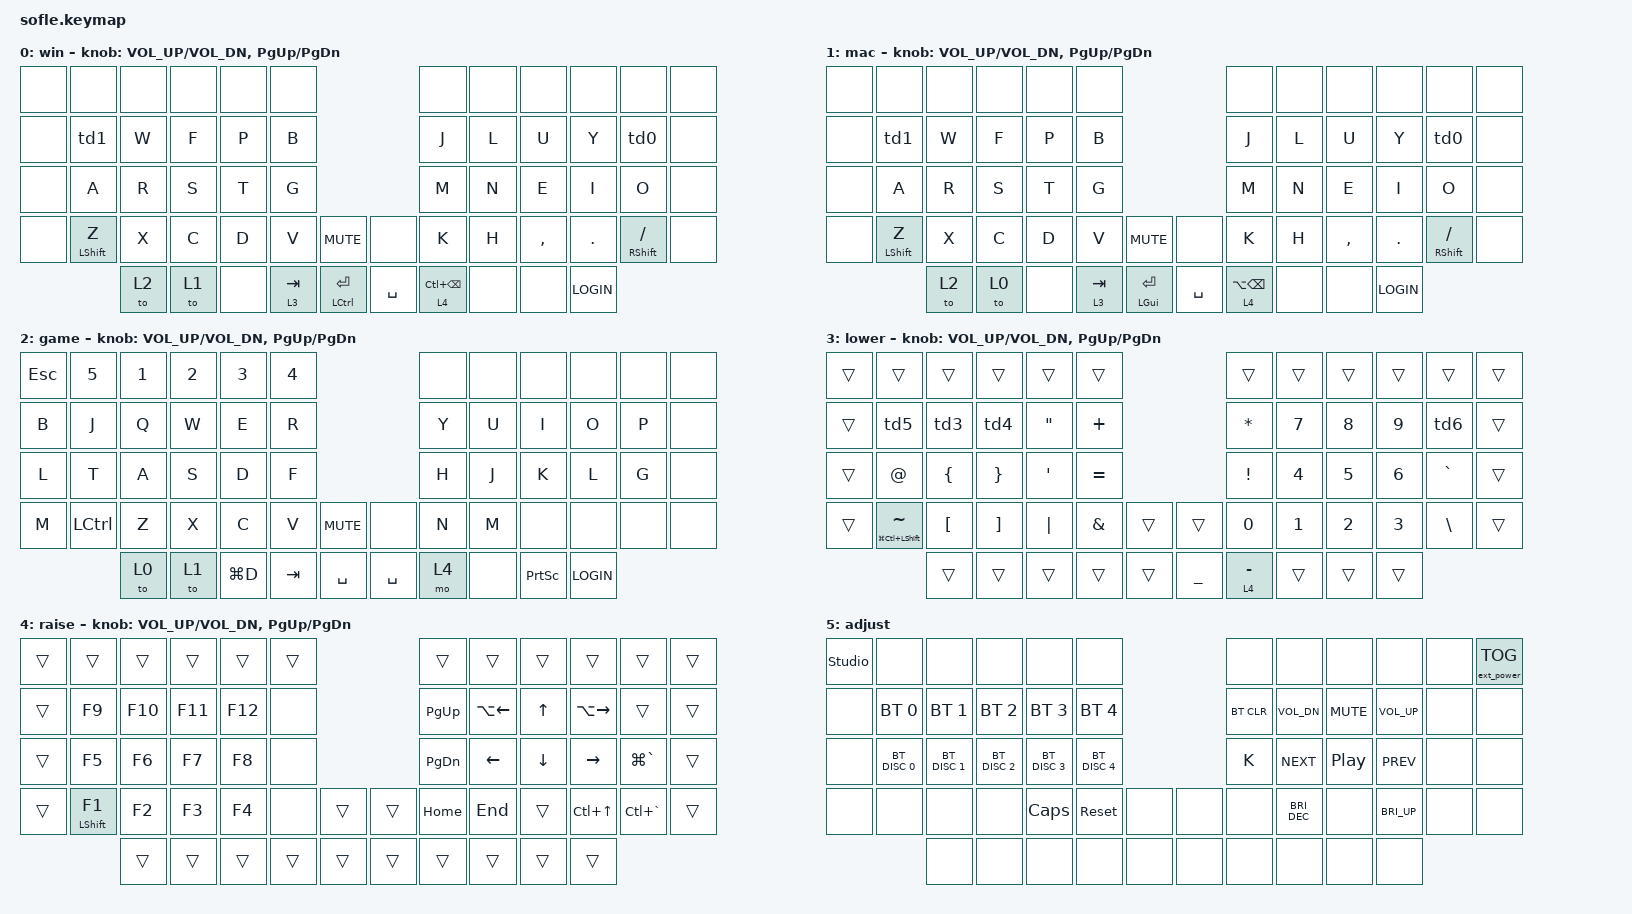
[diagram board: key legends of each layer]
/*
 * Copyright (c) 2020 The ZMK Contributors
 *
 * SPDX-License-Identifier: MIT
 */

#include <behaviors.dtsi>
#include <dt-bindings/zmk/bt.h>
#include <dt-bindings/zmk/ext_power.h>
#include <dt-bindings/zmk/keys.h>

#define BASE 0
#define LOWER 1
#define RAISE 2
#define ADJUST 3

/ {
    // Activate ADJUST layer by pressing raise and lower

    conditional_layers {
        compatible = "zmk,conditional-layers";

        adjust_layer {
            if-layers = <3 4>;
            then-layer = <5>;
        };
    };

    macros {
        LOGIN: LOGIN {
            compatible = "zmk,behavior-macro";
            #binding-cells = <0>;
            bindings = <&kp RET &kp N0 &kp N8 &kp N0 &kp N1 &kp RET>;
            label = "LOGIN";
            wait-ms = <500>;
        };
    };

    combos {
        compatible = "zmk,combos";

        LALT_COMBO {
            bindings = <&kp LEFT_ALT>;
            key-positions = <25 26 27>;
            layers = <0 2 3 4>;
        };

        RALT_COMBO {
            bindings = <&kp RIGHT_ALT>;
            key-positions = <32 33 34>;
        };

        LWIN_COMBO {
            bindings = <&kp LEFT_WIN>;
            key-positions = <14 15 16>;
        };

        RWIN_COMBO {
            bindings = <&kp RIGHT_WIN>;
            key-positions = <19 20 21>;
        };

        LCTRL_COMBO {
            bindings = <&kp LCTRL>;
            key-positions = <40 39 38>;
        };

        RCTRL_COMBO {
            bindings = <&kp RCTRL>;
            key-positions = <45 46 47>;
        };

        DEL_COMBO {
            bindings = <&kp DELETE>;
            key-positions = <28 27 26>;
        };

        BSPC_COMBO {
            bindings = <&kp BACKSPACE>;
            key-positions = <31 32 33>;
        };

        caps_word {
            bindings = <&caps_word>;
            key-positions = <37 38 39>;
        };

        MAC_LGUI_COMBO {
            bindings = <&kp LGUI>;
            key-positions = <25 26 27>;
            layers = <1>;
        };
    };

    behaviors {
        td0: td0 {
            compatible = "zmk,behavior-tap-dance";
            label = "TD0";
            #binding-cells = <0>;
            bindings = <&kp SEMI>, <&kp COLON>;
        };

        td1: td1 {
            compatible = "zmk,behavior-tap-dance";
            label = "TD1";
            #binding-cells = <0>;
            bindings = <&kp Q>, <&kp ESCAPE>;
        };

        td2: td2 {
            compatible = "zmk,behavior-tap-dance";
            label = "TD2";
            #binding-cells = <0>;
            bindings = <&kp LG(GRAVE)>, <&kp TILDE>;
        };

        td3: td3 {
            compatible = "zmk,behavior-tap-dance";
            label = "TD3";
            #binding-cells = <0>;
            bindings = <&kp LPAR>, <&kp LT>;
        };

        td4: td4 {
            compatible = "zmk,behavior-tap-dance";
            label = "TD4";
            #binding-cells = <0>;
            bindings = <&kp RPAR>, <&kp GT>;
        };

        td5: td5 {
            compatible = "zmk,behavior-tap-dance";
            label = "TD5";
            #binding-cells = <0>;
            bindings = <&kp HASH>, <&kp DLLR>;
        };

        td6: td6 {
            compatible = "zmk,behavior-tap-dance";
            label = "TD6";
            #binding-cells = <0>;
            bindings = <&kp PRCNT>, <&kp LG(CARET)>;
        };

        caps_word: caps_word {
            compatible = "zmk,behavior-caps-word";
            label = "CAPS_WORD";
            #binding-cells = <0>;
            continue-list = <UNDERSCORE MINUS BACKSPACE DELETE HOME END LEFT RIGHT>;
        };
    };

    keymap {
        compatible = "zmk,keymap";

        win_layer {
            label = "win";

            // ------------------------------------------------------------------------------------------------------------
            // |   `   |  1  |  2  |  3   |  4   |  5   |                   |  6   |  7    |  8    |  9   |   0   |       |
            // |  ESC  |  Q  |  W  |  E   |  R   |  T   |                   |  Y   |  U    |  I    |  O   |   P   | BKSPC |
            // |  TAB  |  A  |  S  |  D   |  F   |  G   |                   |  H   |  J    |  K    |  L   |   ;   |   '   |
            // | SHIFT |  Z  |  X  |  C   |  V   |  B   |  MUTE  |  |       |  N   |  M    |  ,    |  .   |   /   | SHIFT |
            //               | GUI | ALT  | CTRL | LOWER|  ENTER |  | SPACE | RAISE| CTRL  | ALT   | GUI  |

            bindings = <
&none  &none         &none  &none  &none  &none                                  &none                &none  &none      &none    &none            &none
&none  &td1          &kp W  &kp F  &kp P  &kp B                                  &kp J                &kp L  &kp U      &kp Y    &td0             &none
&none  &kp A         &kp R  &kp S  &kp T  &kp G                                  &kp M                &kp N  &kp E      &kp I    &kp O            &none
&none  &mt LSHIFT Z  &kp X  &kp C  &kp D  &kp V      &kp C_MUTE       &none      &kp K                &kp H  &kp COMMA  &kp DOT  &mt RSHIFT FSLH  &none
                     &to 2  &to 1  &none  &lt 3 TAB  &mt LCTRL RET    &kp SPACE  &lt 4 LC(BACKSPACE)  &none  &none      &LOGIN
            >;

            sensor-bindings = <&inc_dec_kp C_VOL_UP C_VOL_DN &inc_dec_kp PG_UP PG_DN>;
        };

        mac_layer {
            label = "mac";
            bindings = <
&none  &none         &none  &none  &none  &none                                 &none                &none  &none      &none    &none            &none
&none  &td1          &kp W  &kp F  &kp P  &kp B                                 &kp J                &kp L  &kp U      &kp Y    &td0             &none
&none  &kp A         &kp R  &kp S  &kp T  &kp G                                 &kp M                &kp N  &kp E      &kp I    &kp O            &none
&none  &mt LSHIFT Z  &kp X  &kp C  &kp D  &kp V      &kp C_MUTE      &none      &kp K                &kp H  &kp COMMA  &kp DOT  &mt RSHIFT FSLH  &none
                     &to 2  &to 0  &none  &lt 3 TAB  &mt LGUI RET    &kp SPACE  &lt 4 LA(BACKSPACE)  &none  &none      &LOGIN
            >;

            sensor-bindings =
                <&inc_dec_kp C_VOL_UP C_VOL_DN>,
                <&inc_dec_kp PG_UP PG_DN>;
        };

        gaming_layer {
            label = "game";
            bindings = <
&kp ESC  &kp N5     &kp NUMBER_1  &kp NUMBER_2  &kp NUMBER_3  &kp NUMBER_4                           &none  &none  &none            &none   &none  &none
&kp B    &kp J      &kp Q         &kp W         &kp E         &kp R                                  &kp Y  &kp U  &kp I            &kp O   &kp P  &none
&kp L    &kp T      &kp A         &kp S         &kp D         &kp F                                  &kp H  &kp J  &kp K            &kp L   &kp G  &none
&kp M    &kp LCTRL  &kp Z         &kp X         &kp C         &kp V         &kp C_MUTE    &none      &kp N  &kp M  &none            &none   &none  &none
                    &to 0         &to 1         &kp LG(D)     &kp TAB       &kp SPACE     &kp SPACE  &mo 4  &none  &kp PRINTSCREEN  &LOGIN
            >;

            sensor-bindings =
                <&inc_dec_kp C_VOL_UP C_VOL_DN>,
                <&inc_dec_kp PG_UP PG_DN>;
        };

        lower_layer {
            label = "lower";

            // TODO: Some binds are waiting for shifted keycode support.
            // ------------------------------------------------------------------------------------------------------------
            // |       |  F1 |  F2 |  F3  |  F4  |  F5  |                   |  F6  |  F7   |  F8   |  F9  |  F10  |  F11  |
            // |   `   |  1  |  2  |  3   |  4   |  5   |                   |  6   |  7    |  8    |  9   |   0   |  F12  |
            // |       |  !  |  @  |  #   |  $   |  %   |                   |  ^   |  &    |  *    |  (   |   )   |   |   |
            // |       |  =  |  -  |  +   |  {   |  }   |        |  |       |  [   |  ]    |  ;    |  :   |   \   |       |
            //               |     |      |      |      |        |  |       |      |       |       |      |

            bindings = <
&trans  &trans                    &trans    &trans    &trans    &trans                          &trans       &trans  &trans  &trans  &trans     &trans
&trans  &td5                      &td3      &td4      &kp DQT   &kp PLUS                        &kp STAR     &kp N7  &kp N8  &kp N9  &td6       &trans
&trans  &kp AT                    &kp LBRC  &kp RBRC  &kp SQT   &kp EQUAL                       &kp EXCL     &kp N4  &kp N5  &kp N6  &kp GRAVE  &trans
&trans  &mt LG(LC(LSHIFT)) TILDE  &kp LBKT  &kp RBKT  &kp PIPE  &kp AMPS   &trans    &trans     &kp N0       &kp N1  &kp N2  &kp N3  &kp BSLH   &trans
                                  &trans    &trans    &trans    &trans     &trans    &kp UNDER  &lt 4 MINUS  &trans  &trans  &trans
            >;

            sensor-bindings = <&inc_dec_kp C_VOL_UP C_VOL_DN &inc_dec_kp PG_UP PG_DN>;
        };

        raise_layer {
            label = "raise";

            // ------------------------------------------------------------------------------------------------------------
            // | BTCLR | BT1  | BT2  |  BT3  |  BT4  |  BT5 |                |      |      |       |      |       |       |
            // |       | INS  | PSCR | GUI   |       |      |                | PGUP |      |   ^   |      |       |       |
            // |       | ALT  | CTRL | SHIFT |       | CAPS |                | PGDN |   <- |   v   |  ->  |  DEL  | BKSPC |
            // |       | UNDO | CUT  | COPY  | PASTE |      |      |  |      |      |      |       |      |       |       |
            //                |      |       |       |      |      |  |      |      |      |       |      |

            bindings = <
&trans  &trans         &trans   &trans   &trans   &trans                    &trans         &trans        &trans    &trans            &trans         &trans
&trans  &kp F9         &kp F10  &kp F11  &kp F12  &none                     &kp PAGE_UP    &kp LA(LEFT)  &kp UP    &kp LA(RIGHT)     &trans         &trans
&trans  &kp F5         &kp F6   &kp F7   &kp F8   &none                     &kp PAGE_DOWN  &kp LEFT      &kp DOWN  &kp RIGHT         &kp LG(GRAVE)  &trans
&trans  &mt LSHIFT F1  &kp F2   &kp F3   &kp F4   &none   &trans    &trans  &kp HOME       &kp END       &trans    &kp LC(UP_ARROW)  &kp LC(GRAVE)  &trans
                       &trans   &trans   &trans   &trans  &trans    &trans  &trans         &trans        &trans    &trans
            >;

            sensor-bindings = <&inc_dec_kp C_VOL_UP C_VOL_DN &inc_dec_kp PG_UP PG_DN>;
        };

        adjust_layer {
            // ----------------------------------------------------------------------------------------------------------------------------
            // | BTCLR  |  BT1    |  BT2    |   BT3   |   BT4   |   BT5   |                  |      |      |       |      |       |       |
            // | EXTPWR | RGB_HUD | RGB_HUI | RGB_SAD | RGB_SAI | RGB_EFF |                  |      |      |       |      |       |       |
            // |        | RGB_BRD | RGB_BRI |         |         |         |                  |      |      |       |      |       |       |
            // |        |         |         |         |         |         | RGB_TOG | |      |      |      |       |      |       |       |
            //                    |         |         |         |         |         | |      |      |      |       |      |

            label = "adjust";
            bindings = <
&studio_unlock  &none          &none          &none          &none          &none                          &none       &none          &none       &none         &none  &ext_power EP_TOG
&none           &bt BT_SEL 0   &bt BT_SEL 1   &bt BT_SEL 2   &bt BT_SEL 3   &bt BT_SEL 4                   &bt BT_CLR  &kp C_VOL_DN   &kp C_MUTE  &kp C_VOL_UP  &none  &none
&none           &bt BT_DISC 0  &bt BT_DISC 1  &bt BT_DISC 2  &bt BT_DISC 3  &bt BT_DISC 4                  &kp K       &kp C_NEXT     &kp C_PP    &kp C_PREV    &none  &none
&none           &none          &none          &none          &kp CAPSLOCK   &sys_reset     &none    &none  &none       &kp C_BRI_DEC  &none       &kp C_BRI_UP  &none  &none
                               &none          &none          &none          &none          &none    &none  &none       &none          &none       &none
            >;
        };
    };
};
